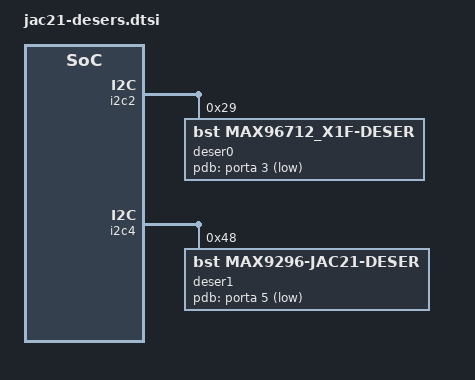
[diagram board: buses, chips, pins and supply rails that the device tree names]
/*
   default deser config for jac21
   deser0@i2c2 0x30:    ti960
   deser1@i2c2 0x32:    ti960
   deser2@i2c2 0x34:    ti960
*/

&i2c2 {
    #address-cells = <1>;
    #size-cells = <0>;

    deser0: max96712@29 {
        compatible = "bst,max96712_x1f-deser";
        type = "max96712";
        reg = <0x29>;
        i2c-port = <0>;
        csi2-port = <0>;
        lane-speed = <800>;                     /*necessary fields in csi@2*/
        cross-bar = <0>;                        /*cross bar*/
        regs = <0x41 0x42 0x43 0x44>;
        maxim,fsync-mode = "manual";
        maxim,him = <1>;
        maxim,fsync-period = <1000000>;         /*25MHz/25fps*/ 
        maxim,bws = <0>;
        maxim,dbl = <1>;
        maxim,dt = <3>;      /*YUV8*/
        maxim,hsync-invert = <0>;
        maxim,vsync-invert = <1>; 
        maxim,link-mode = "GMSL1";                    /*ar0143:GMSL1/imx424:GMSL2*/
        pdb-gpio = <&porta 3 1>;
    };
};

&i2c4 {
    #address-cells = <1>;
    #size-cells = <0>;

    deser1: max9296@48{
        compatible = "bst,max9296-jac21-deser";
        type = "max9296";
        reg = <0x48>;
        i2c-port = <0>;
        csi2-port = <0>;
        lane-speed = <1600>;
        regs = <0x44 0x45>;
        maxim,fsync-mode = "manual";
        maxim,him = <1>;
        maxim,fsync_period = <3072000>;         /*76.8MHz/25fps*/
        maxim,bws = <0>;
        maxim,dbl = <1>;
        maxim,dt = <3>;      /*YUV8*/
        maxim,hsync-invert = <0>;
        maxim,vsync-invert = <1>;
        pdb-gpio = <&porta 5 1>;
    };

    deser2: ti960@34 {
        compatible = "bst,ti-deser-hub";
        type = "ti960";
        reg = <0x34>;
        i2c-port = <0>;
        csi2-port = <0>;
        lane-speed = <1600>;
	status = "disable";
    };
};

#include "../common/a1000b-deser.dtsi"
